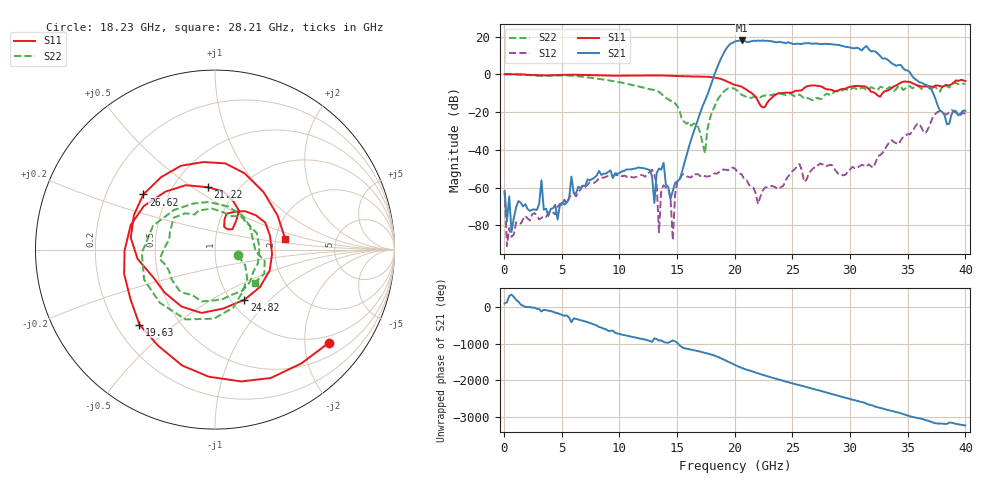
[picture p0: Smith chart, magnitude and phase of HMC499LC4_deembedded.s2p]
!Hittite Microwave Corporation
!20 Alpha Road
!Chelmsford, MA 01824
!Tel: 978-250-3343
!Fax: 978-250-3373
!Device: HMC499LC4, 21-32 GHz, GaAS PHEMT MMIC Medium Power Amplifier in Leadless SMT Package
!Misc: Vdd1,2,3 = 5 V, Idd = 200 mA, data includes two Southwest (K) connectors, Room
# MHZ S MA R 50
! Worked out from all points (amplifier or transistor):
!   201 points, 50 MHz to 40 GHz, reference 50 ohm
!   highest |S21| = 17.9 dB at 20.62 GHz (marker M1)
!   |S21| within 3 dB of that: 19.43 GHz to 29.4 GHz (9.968 GHz wide, 40.8 % of centre) (the widest 1 of 2)
!   unconditionally stable (mu >= 1): start of sweep to 50.14843 MHz; 1.048 GHz to end of sweep
!   at 6.642 GHz: K = 9045.78, MAG = -42.2 dB, |S12| = -61.0 dB
!   at 20.02 GHz: K = 12.83, MAG = 19.6 dB, |S12| = -50.0 dB
!   at 40 GHz: K = 20.22, MAG = -15.2 dB, |S12| = -21.0 dB
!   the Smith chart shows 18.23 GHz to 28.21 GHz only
!   S11 on the Smith chart (normalised r, x): 18.23 GHz: 0.81, -2.58; 19.63 GHz: 0.30, -0.38; 21.22 GHz: 0.73, +0.58; 24.82 GHz: 1.15, -0.72; 26.62 GHz: 0.36, +0.30; 28.21 GHz: 2.26, +0.31
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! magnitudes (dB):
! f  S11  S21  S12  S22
! 50 MHz  0.0  -62.2  -61.2  0.0
! 849 MHz  0.0  -76.0  -84.8  0.0
! 6.841 GHz  -0.3  -59.0  -58.6  -1.3
! 12.83 GHz  -0.6  -54.0  -50.6  -8.1
! 13.03 GHz  -0.6  -68.2  -53.2  -8.3
! 13.43 GHz  -0.6  -49.9  -83.7  -9.2
! 13.63 GHz  -0.6  -50.5  -61.1  -10.4
! 14.43 GHz  -0.8  -66.2  -64.9  -13.9
! 14.63 GHz  -0.8  -61.7  -87.9  -15.1
! 15.03 GHz  -1.0  -56.8  -56.7  -17.0
! 17.43 GHz  -1.3  -13.9  -54.0  -41.8
! 18.23 GHz  -1.7  -0.5  -52.4  -17.5
! 19.63 GHz  -4.5  16.1  -50.3  -7.4
! 20.02 GHz  -5.6  17.4  -50.0  -7.8
! 20.62 GHz  -6.7  17.9  -53.1  -10.9
! 21.22 GHz  -9.1  17.1  -58.3  -12.3
! 24.82 GHz  -9.8  16.6  -52.8  -10.1
! 26.62 GHz  -6.0  16.2  -50.9  -13.4
! 26.82 GHz  -6.0  16.2  -49.7  -13.8
! 28.21 GHz  -8.0  16.0  -48.0  -10.8
! 33.41 GHz  -8.2  6.9  -35.9  -6.8
! 40 GHz  -3.6  -19.3  -21.0  -5.0
